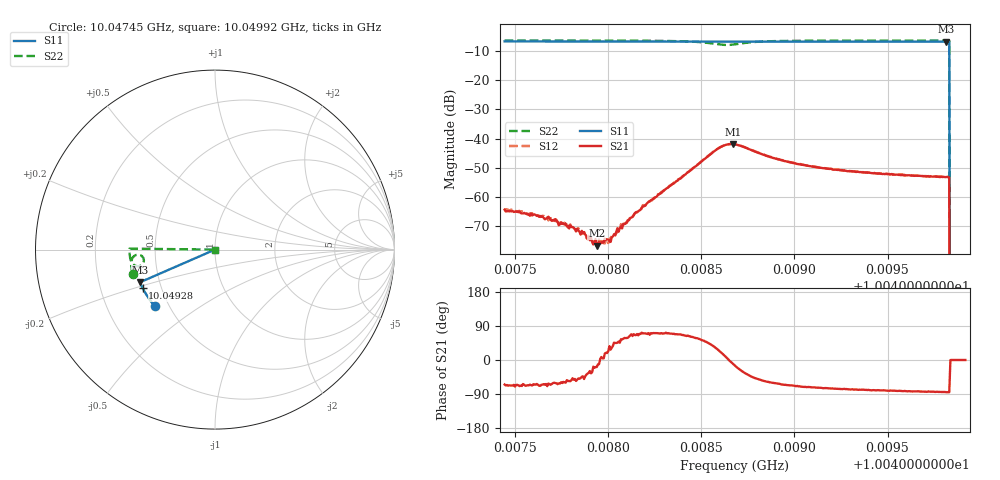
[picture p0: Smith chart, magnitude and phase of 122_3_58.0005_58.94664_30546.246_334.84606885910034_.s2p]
#  HZ  S  RI  R  50.00
! Rohde & Schwarz Vector Network Analyzer
! Rohde-Schwarz,ZNB20-2Port,1311601062101988,3.16
! Created: UTC 3/21/2024, 12:55:46 AM
! freq[Hz]  re:S11  im:S11  re:S21  im:S21  re:S12  im:S12  re:S22  im:S22
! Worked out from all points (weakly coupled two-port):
!   401 points, 10.04745 GHz to 10.04992 GHz, reference 50 ohm
!   highest |S21| = -41.89 dB at 10.04867 GHz (marker M1); lowest = -76.7 dB at 10.04794 GHz (marker M2)
!   lowest |S11| = -6.8 dB at 10.04981 GHz (marker M3), VSWR 2.68, Z = 19.4 - j8.97 ohm
!   |S11| at or under -10 dB: 10.04983 GHz to end of sweep
!   |S22| runs from - to -6.4 dB; largest |S21 - S12| = 0.00056
!   S11 on the Smith chart (normalised r, x): 10.04745 GHz: 0.42, -0.33; 10.04928 GHz: 0.39, -0.21; 10.04992 GHz: 1.00, +0.00
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1.0047447e10  -0.3351 -0.3152  0.00026 -0.00055  0.000278 -0.000533  -0.4592 -0.1336
1.0047601e10  -0.3421 -0.3074  0.000222 -0.000453  0.000228 -0.000466  -0.4618 -0.1229
1.00477e10  -0.3461 -0.3023  0.000177 -0.000348  0.00021 -0.000383  -0.4633 -0.1155
1.004786e10  -0.3528 -0.294  0.000189 -0.000184  0.000205 -0.000155  -0.4654 -0.1035
1.0047916e10  -0.355 -0.2911  0.000143 -8.98e-05  0.000178 -6.6e-05  -0.4659 -0.0989
1.0047941e10  -0.3561 -0.2898  0.000139 -4.7e-05  0.000138 -4.29e-05  -0.4662 -0.097
1.0047953e10  -0.3566 -0.289  0.000167 -3.19e-05  0.000187 -6.55e-06  -0.4663 -0.096
1.0047996e10  -0.3583 -0.2868  0.000179 5.95e-05  0.000151 6.64e-05  -0.4667 -0.0921
1.0048015e10  -0.3591 -0.2859  0.000151 7.81e-05  0.00018 8.8e-05  -0.4668 -0.0908
1.0048114e10  -0.3629 -0.2807  0.000192 0.000353  0.000188 0.000365  -0.4672 -0.0818
1.0048274e10  -0.3691 -0.272  0.000375 0.00105  0.00032 0.00106  -0.4661 -0.065
1.0048583e10  -0.3798 -0.2545  0.00561 0.00327  0.00544 0.00363  -0.4144 -0.0315
1.004867e10  -0.3824 -0.2501  0.00793 -0.00135  0.00805 -0.00083  -0.3991 -0.0738
1.0048682e10  -0.3829 -0.2495  0.00765 -0.00209  0.00784 -0.00161  -0.4027 -0.0799
1.0048898e10  -0.3908 -0.2376  0.00218 -0.00399  0.00242 -0.00391  -0.4604 -0.0766
1.0049096e10  -0.3972 -0.2261  0.00102 -0.00316  0.0012 -0.00313  -0.4708 -0.0537
1.0049275e10  -0.4027 -0.2156  0.000642 -0.00274  0.000836 -0.00273  -0.4743 -0.0373
1.004951e10  -0.4095 -0.2017  0.000365 -0.00241  0.000542 -0.00242  -0.476 -0.0183
1.0049812e10  -0.4173 -0.1832  0.000207 -0.00218  0.000323 -0.0022  -0.4766 0.00399
1.0049819e10  -0.4176 -0.1828  0.000182 -0.0022  0.000341 -0.00218  -0.4767 0.00443
1.004985e10  0 0  0 0  0 0  0 0
1.0049917e10  0 0  0 0  0 0  0 0
